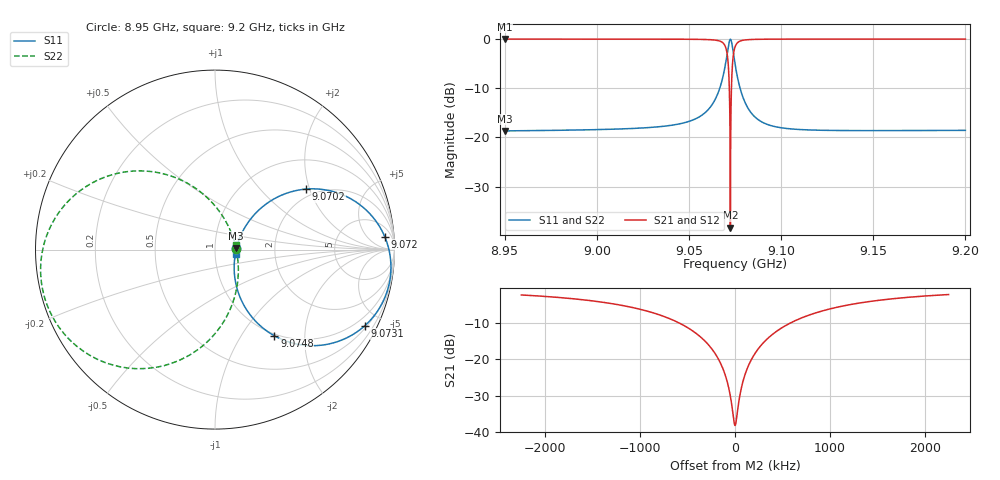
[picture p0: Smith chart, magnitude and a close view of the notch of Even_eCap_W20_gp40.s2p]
! Sonnet Data File
! From: emgraph Version : 16.52
! From Project: Resonator2_extremeCap
! Data is De-embedded
! Data File Written: 10/11/2017 17:55:29
!< HDATE 10/10/2017 20:37:37
!< MDATE 10/10/2017 20:37:37
!< PARAMS
!< Pwid1 = 2000.0
!< Pwid2 = 2000.0
!< Air_gap = 12.0
!< Width = 20.0
!< Gap = 40.0
!< END PARAMS
# GHZ S MA R 50.70000
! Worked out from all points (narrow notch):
!   1845 points, 8.95 GHz to 9.2 GHz, reference 50.7 ohm
!   highest |S21| = -0.06 dB at 8.95 GHz (marker M1); lowest = -38.3 dB at 9.0725 GHz (marker M2)
!   notch at M2: 38.2 dB deep, 381 kHz wide at half that depth
!   lowest |S11| = -18.7 dB at 8.95 GHz (marker M3), VSWR 1.26, Z = 64 + j0.835 ohm
!   |S11| at or under -10 dB: start of sweep to 9.0668 GHz; 9.0777 GHz to end of sweep
!   |S22| runs from -18.7 to -0.1 dB; largest |S21 - S12| = 0
!   S11 on the Smith chart (normalised r, x): 8.95 GHz: 1.26, +0.02; 9.0702 GHz: 1.76, +1.88; 9.072 GHz: 12, +18; 9.0731 GHz: 0.59, -4.09; 9.0748 GHz: 0.97, -1.42; 9.2 GHz: 1.26, -0.06
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8.95  0.1164 3.2  0.9932 -88.0  0.9932 -88.0  0.1164 0.8
!< P1 F=8.95 Eeff=(6.44622481 -2.9718e-5) Z0=(50.9069921 1.17455e-4) R=0.0 C=0.0
!< P2 F=8.95 Eeff=(6.44622481 -2.9718e-5) Z0=(50.9069921 1.17455e-4) R=0.0 C=0.0
8.9918  0.1191 5.6  0.9929 -88.9  0.9929 -88.9  0.1191 -3.3
9.0334  0.1281 13.4  0.9917 -90.6  0.9917 -90.6  0.128 -14.6
9.06  0.1872 33.8  0.9821 -96.1  0.9821 -96.1  0.1869 -46.0
9.067354  0.3437 42.1  0.9379 -106.6  0.9379 -106.6  0.3429 -75.7
9.0702  0.6079 33.7  0.7892 -124.5  0.7892 -124.5  0.6063 -103.7
9.071372  0.8336 18.3  0.5387 -143.8  0.5387 -143.8  0.8313 -127.9
9.071976  0.9484 4.4  0.2847 -158.7  0.2847 -158.7  0.9457 -146.4
9.072329  0.9848 -5.5  0.09491 -164.9  0.09491 -164.9  0.982 -159.0
9.072397  0.9877 -7.5  0.05615 -162.0  0.05615 -162.0  0.9849 -161.5
9.072493  0.9892 -10.3  0.01216 -87.2  0.01216 -87.2  0.9863 -165.1
9.072573  0.9881 -12.6  0.04785 -15.1  0.04785 -15.1  0.9853 -168.0
9.07267  0.984 -15.5  0.1028 -10.3  0.1028 -10.3  0.9812 -171.6
9.073081  0.9363 -26.9  0.3227 -18.7  0.3227 -18.7  0.9337 173.7
9.073806  0.7864 -42.8  0.6067 -36.2  0.6067 -36.2  0.7841 152.1
9.07485  0.5834 -55.4  0.8076 -52.6  0.8076 -52.6  0.5817 131.2
9.075  0.56 -56.5  0.8243 -54.3  0.8243 -54.3  0.5584 128.9
9.078204  0.2947 -62.2  0.9547 -71.9  0.9547 -71.9  0.2939 98.7
9.086  0.16 -48.0  0.9869 -81.4  0.9869 -81.4  0.1597 65.3
9.1168  0.1188 -21.1  0.9929 -86.7  0.9929 -86.7  0.1187 27.7
9.1584  0.1172 -13.6  0.9931 -88.2  0.9931 -88.2  0.1172 17.2
9.2  0.1179 -11.2  0.993 -89.0  0.993 -89.0  0.1179 13.2
